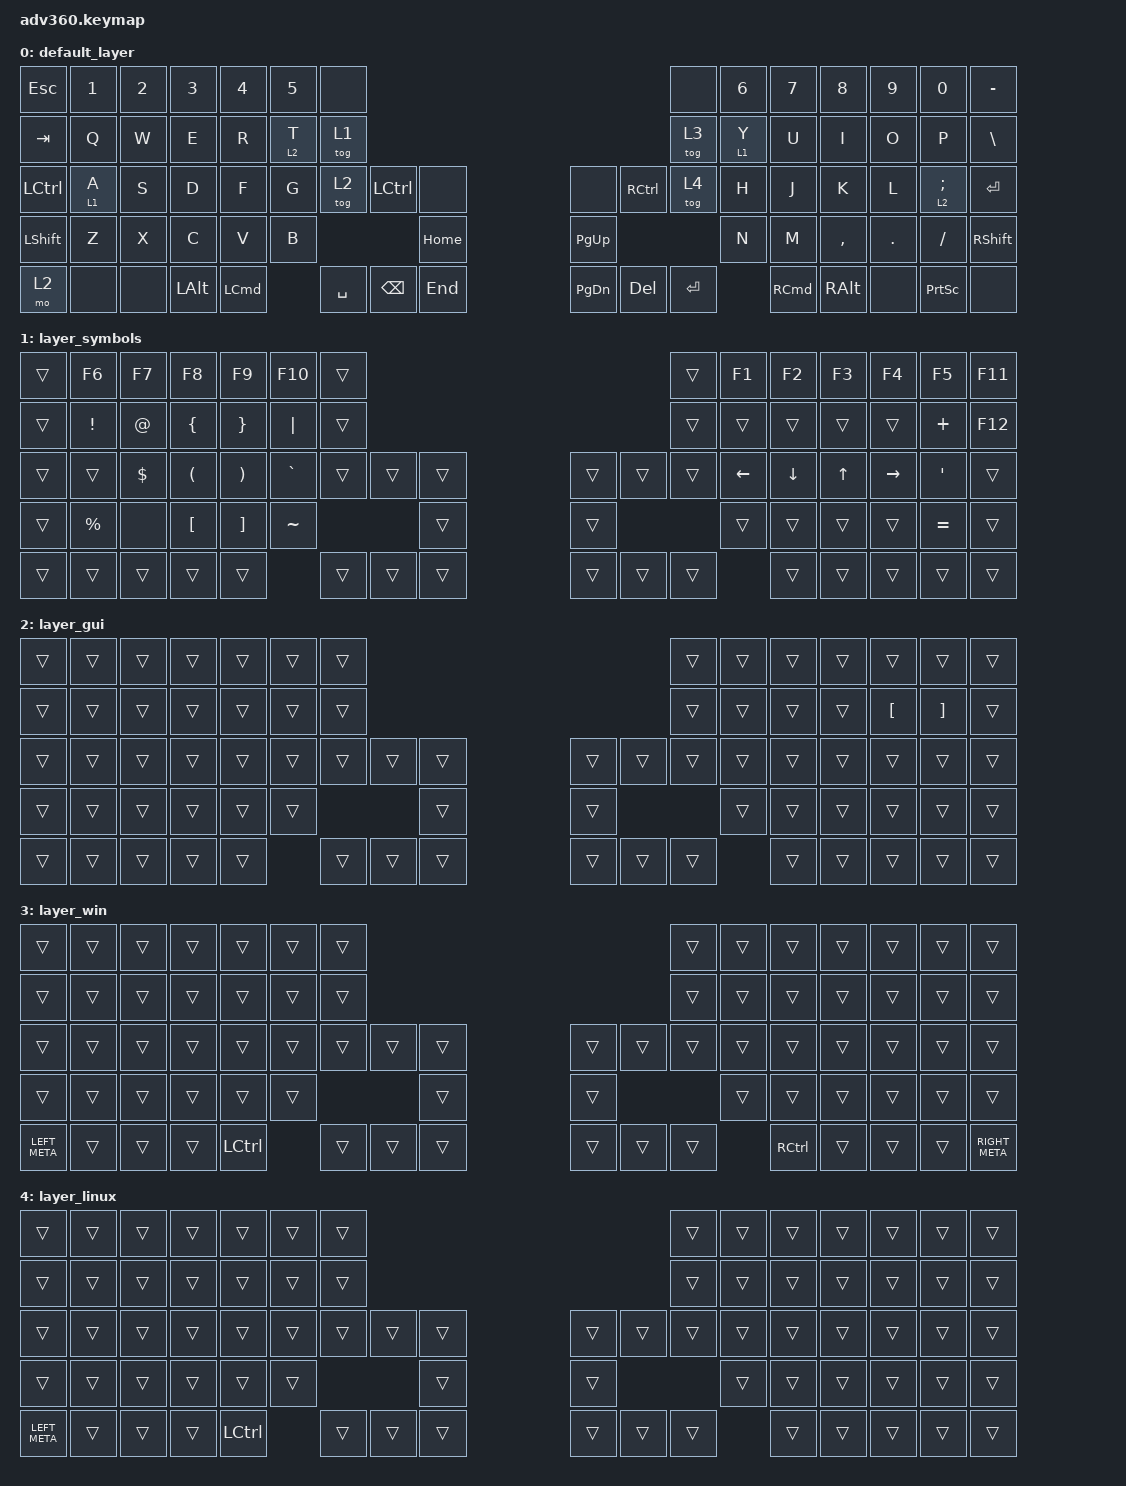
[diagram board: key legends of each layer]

/*
 * Copyright (c) 2020 The ZMK Contributors
 *
 * SPDX-License-Identifier: MIT
 */


/* THIS FILE WAS GENERATED!
 *
 * This file was generated automatically. You may or may not want to
 * edit it directly.
 */

#include <behaviors.dtsi>
#include <dt-bindings/zmk/keys.h>

/ {
  behaviors {
    #include "macros.dtsi"

    hm: homerow_mods {
        compatible = "zmk,behavior-hold-tap";
        label = "HOMEROW_MODS";
        #binding-cells = <2>;
        tapping-term-ms = <200>;
        quick_tap_ms = <175>;
        flavor = "tap-preferred";
        bindings = <&kp>, <&kp>;
    };
  };

    keymap {
        compatible = "zmk,keymap";


        default_layer {
            bindings = <
   &kp ESC   &kp N1  &kp N2        &kp N3            &kp N4   &kp N5                &none                                                                     &none   &kp N6             &kp N7         &kp N8   &kp N9           &kp N0  &kp MINUS
   &kp TAB    &kp Q   &kp W         &kp E             &kp R  &lt 2 T               &tog 1                                                                    &tog 3  &lt 1 Y              &kp U          &kp I    &kp O            &kp P   &kp BSLH
 &kp LCTRL  &lt 1 A   &kp S         &kp D             &kp F    &kp G               &tog 2      &kp LCTRL     &none                      &none  &kp RCTRL     &tog 4    &kp H              &kp J          &kp K    &kp L  &lt 2 SEMICOLON  &kp ENTER
 &kp LSHFT    &kp Z   &kp X         &kp C             &kp V    &kp B                                      &kp HOME                  &kp PG_UP                          &kp N              &kp M      &kp COMMA  &kp DOT         &kp FSLH  &kp RSHFT
     &mo 2    &none   &none  &kp LEFT_ALT  &kp LEFT_COMMAND                     &kp SPACE  &kp BACKSPACE   &kp END                  &kp PG_DN    &kp DEL  &kp ENTER           &kp RIGHT_COMMAND  &kp RIGHT_ALT    &none  &kp PRINTSCREEN      &none
            >;
        };

        layer_symbols {
            bindings = <
 &trans           &kp F6       &kp F7                &kp F8                 &kp F9    &kp F10            &trans                                                  &trans          &kp F1          &kp F2        &kp F3           &kp F4            &kp F5  &kp F11
 &trans  &kp EXCLAMATION  &kp AT_SIGN        &kp LEFT_BRACE        &kp RIGHT_BRACE   &kp PIPE            &trans                                                  &trans          &trans          &trans        &trans           &trans          &kp PLUS  &kp F12
 &trans           &trans   &kp DOLLAR  &kp LEFT_PARENTHESIS  &kp RIGHT_PARENTHESIS  &kp GRAVE            &trans  &trans  &trans                  &trans  &trans  &trans  &kp LEFT_ARROW  &kp DOWN_ARROW  &kp UP_ARROW  &kp RIGHT_ARROW  &kp SINGLE_QUOTE   &trans
 &trans      &kp PERCENT        &none      &kp LEFT_BRACKET      &kp RIGHT_BRACKET  &kp TILDE                            &trans                  &trans                          &trans          &trans        &trans           &trans         &kp EQUAL   &trans
 &trans           &trans       &trans                &trans                 &trans                       &trans  &trans  &trans                  &trans  &trans  &trans                          &trans        &trans           &trans            &trans   &trans
            >;
        };

        layer_gui {
            bindings = <
 &trans  &trans  &trans  &trans  &trans  &trans            &trans                                                  &trans  &trans  &trans  &trans            &trans             &trans  &trans
 &trans  &trans  &trans  &trans  &trans  &trans            &trans                                                  &trans  &trans  &trans  &trans  &kp LEFT_BRACKET  &kp RIGHT_BRACKET  &trans
 &trans  &trans  &trans  &trans  &trans  &trans            &trans  &trans  &trans                  &trans  &trans  &trans  &trans  &trans  &trans            &trans             &trans  &trans
 &trans  &trans  &trans  &trans  &trans  &trans                            &trans                  &trans                  &trans  &trans  &trans            &trans             &trans  &trans
 &trans  &trans  &trans  &trans  &trans                    &trans  &trans  &trans                  &trans  &trans  &trans          &trans  &trans            &trans             &trans  &trans
            >;
        };

        layer_win {
            bindings = <
        &trans  &trans  &trans  &trans     &trans  &trans            &trans                                                  &trans  &trans     &trans  &trans  &trans  &trans          &trans
        &trans  &trans  &trans  &trans     &trans  &trans            &trans                                                  &trans  &trans     &trans  &trans  &trans  &trans          &trans
        &trans  &trans  &trans  &trans     &trans  &trans            &trans  &trans  &trans                  &trans  &trans  &trans  &trans     &trans  &trans  &trans  &trans          &trans
        &trans  &trans  &trans  &trans     &trans  &trans                            &trans                  &trans                  &trans     &trans  &trans  &trans  &trans          &trans
 &kp LEFT_META  &trans  &trans  &trans  &kp LCTRL                    &trans  &trans  &trans                  &trans  &trans  &trans          &kp RCTRL  &trans  &trans  &trans  &kp RIGHT_META
            >;
        };

        layer_linux {
            bindings = <
        &trans  &trans  &trans  &trans     &trans  &trans            &trans                                                  &trans  &trans  &trans  &trans  &trans  &trans  &trans
        &trans  &trans  &trans  &trans     &trans  &trans            &trans                                                  &trans  &trans  &trans  &trans  &trans  &trans  &trans
        &trans  &trans  &trans  &trans     &trans  &trans            &trans  &trans  &trans                  &trans  &trans  &trans  &trans  &trans  &trans  &trans  &trans  &trans
        &trans  &trans  &trans  &trans     &trans  &trans                            &trans                  &trans                  &trans  &trans  &trans  &trans  &trans  &trans
 &kp LEFT_META  &trans  &trans  &trans  &kp LCTRL                    &trans  &trans  &trans                  &trans  &trans  &trans          &trans  &trans  &trans  &trans  &trans
            >;
        };

    };
};
